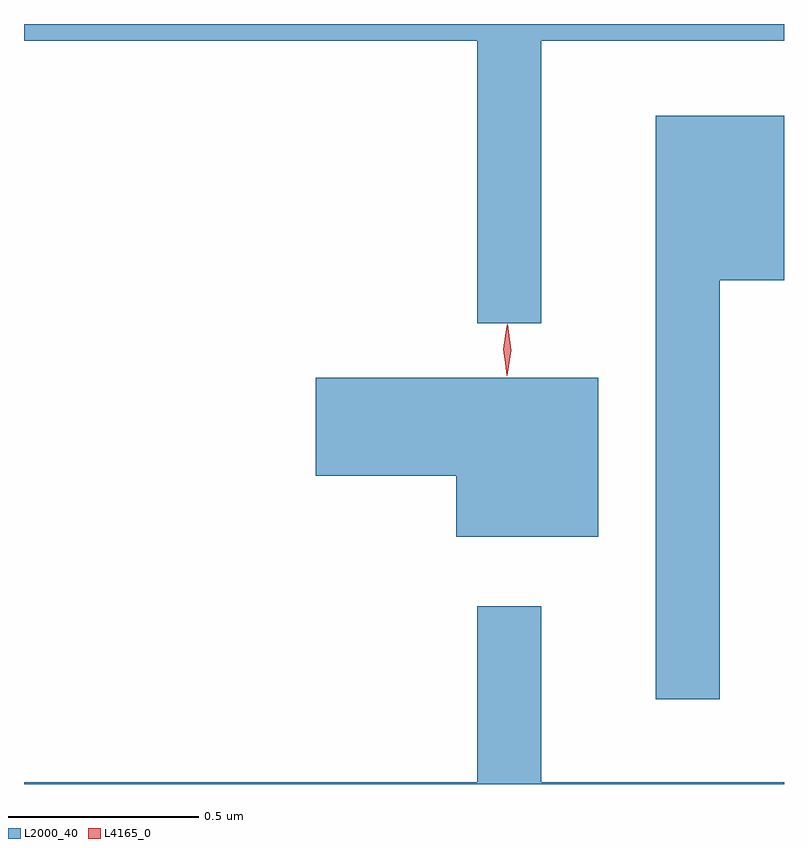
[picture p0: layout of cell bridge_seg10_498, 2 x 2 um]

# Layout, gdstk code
import gdstk
lib = gdstk.Library(unit=1e-6, precision=1e-09)
def P(c, l, *ps):  # polygons
    for p in ps: c.add(gdstk.Polygon(p, *l))
L2000_40 = (2000, 40)
L4165_0 = (4165, 0)

bridge_seg10_498 = lib.new_cell('bridge_seg10_498')
P(bridge_seg10_498, L2000_40, [(957.739,2184.956),(958.378,2184.956),(958.378,2185),(956.378,2185),(956.378,2184.956),(957.571,2184.956),(957.571,2184.213),(957.739,2184.213)],
  [(958.209,2184.326),(958.378,2184.326),(958.378,2184.759),(958.041,2184.759),(958.041,2183.223),(958.209,2183.223)],
  [(957.889,2184.069),(957.146,2184.069),(957.146,2183.811),(957.516,2183.811),(957.516,2183.651),(957.889,2183.651)],
  [(958.378,2183.004),(957.739,2183.004),(957.739,2183.468),(957.571,2183.468),(957.571,2183.004),(956.378,2183.004),(956.378,2183),(958.378,2183)])
P(bridge_seg10_498, L4165_0, [(957.649,2184.074),(957.64,2184.142),(957.65,2184.21),(957.65,2184.21),(957.651,2184.21),(957.66,2184.142),(957.65,2184.074),(957.65,2184.074)],
  [(957.648,2184.08),(957.648,2184.081),(957.639,2184.144),(957.649,2184.206),(957.65,2184.207),(957.65,2184.206),(957.659,2184.144),(957.649,2184.081)])

lib.write_gds('bridge_seg10_498.gds')
